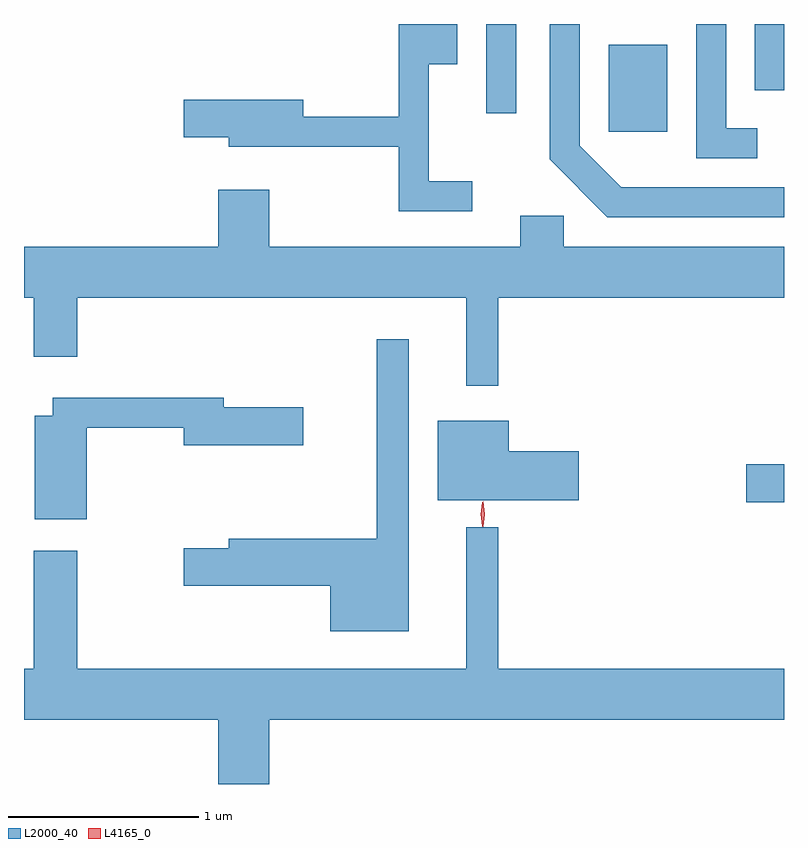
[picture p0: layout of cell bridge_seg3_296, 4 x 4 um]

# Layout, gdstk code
import gdstk
lib = gdstk.Library(unit=1e-6, precision=1e-09)
def R(c, l, rs):  # rectangles x0, y0, x1, y1
    for r in rs: c.add(gdstk.rectangle(r[:2], r[2:], *l))
def P(c, l, *ps):  # polygons
    for p in ps: c.add(gdstk.Polygon(p, *l))
L2000_40 = (2000, 40)
L4165_0 = (4165, 0)

bridge_seg3_296 = lib.new_cell('bridge_seg3_296')
R(bridge_seg3_296, L2000_40, [(537.536,1164.901,537.734,1165.099), (536.811,1166.851,537.119,1167.309), (536.166,1166.948,536.324,1167.417), (537.581,1167.068,537.734,1167.417)])
P(bridge_seg3_296, L2000_40, [(536.093,1166.589),(535.864,1166.589),(535.864,1167.206),(536.014,1167.206),(536.014,1167.417),(535.706,1167.417),(535.706,1166.929),(535.204,1166.929),(535.204,1167.019),(534.576,1167.019),(534.576,1166.821),(534.811,1166.821),(534.811,1166.771),(535.706,1166.771),(535.706,1166.431),(536.093,1166.431)],
  [(537.734,1166.559),(536.877,1166.559),(536.659,1166.777),(536.659,1167.417),(536.501,1167.417),(536.501,1166.704),(536.804,1166.401),(537.734,1166.401)],
  [(537.593,1166.869),(537.429,1166.869),(537.429,1167.417),(537.271,1167.417),(537.271,1166.711),(537.593,1166.711)],
  [(536.229,1165.976),(537.734,1165.976),(537.734,1166.244),(536.574,1166.244),(536.574,1166.409),(536.346,1166.409),(536.346,1166.244),(535.024,1166.244),(535.024,1166.544),(534.756,1166.544),(534.756,1166.244),(533.734,1166.244),(533.734,1165.976),(533.786,1165.976),(533.786,1165.666),(534.014,1165.666),(534.014,1165.976),(536.061,1165.976),(536.061,1165.513),(536.229,1165.513)],
  [(535.759,1165.758),(535.591,1165.758),(535.591,1164.709),(534.811,1164.709),(534.811,1164.659),(534.576,1164.659),(534.576,1164.461),(535.346,1164.461),(535.346,1164.221),(535.759,1164.221)],
  [(534.064,1165.291),(534.576,1165.291),(534.576,1165.201),(535.204,1165.201),(535.204,1165.399),(534.784,1165.399),(534.784,1165.449),(533.886,1165.449),(533.886,1165.354),(533.791,1165.354),(533.791,1164.811),(534.064,1164.811)],
  [(536.654,1165.169),(536.284,1165.169),(536.284,1165.329),(535.911,1165.329),(535.911,1164.911),(536.654,1164.911)],
  [(535.024,1163.756),(537.734,1163.756),(537.734,1164.024),(536.229,1164.024),(536.229,1164.768),(536.061,1164.768),(536.061,1164.024),(534.014,1164.024),(534.014,1164.644),(533.786,1164.644),(533.786,1164.024),(533.734,1164.024),(533.734,1163.756),(534.756,1163.756),(534.756,1163.417),(535.024,1163.417)])
P(bridge_seg3_296, L4165_0, [(536.149,1164.77),(536.149,1164.77),(536.14,1164.838),(536.15,1164.906),(536.151,1164.906),(536.152,1164.906),(536.16,1164.838),(536.15,1164.77)],
  [(536.147,1164.773),(536.147,1164.773),(536.137,1164.836),(536.147,1164.899),(536.147,1164.9),(536.148,1164.899),(536.157,1164.836),(536.148,1164.773)])

lib.write_gds('bridge_seg3_296.gds')
